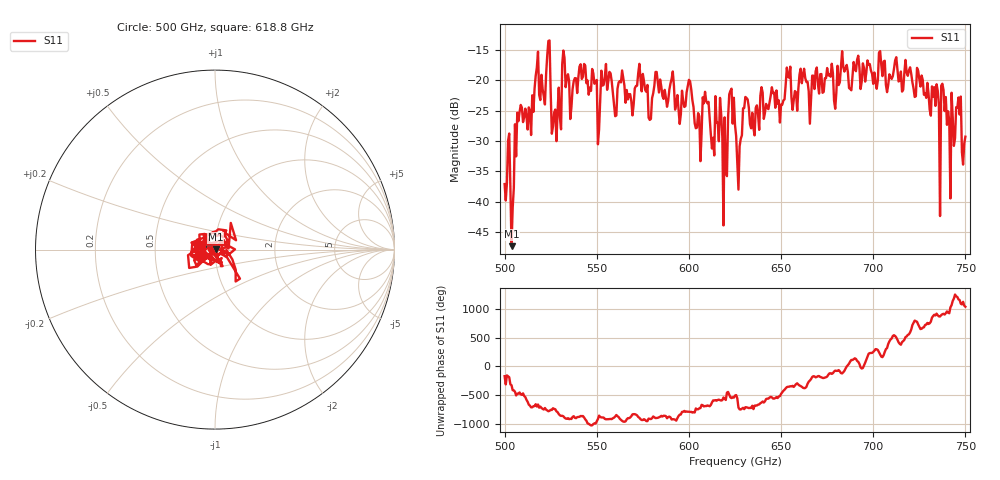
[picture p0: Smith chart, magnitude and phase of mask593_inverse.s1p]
!Created with skrf (http://scikit-rf.org).
# GHz S MA R 50.0
!freq magS11 angS11
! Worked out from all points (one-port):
!   401 points, 500 GHz to 750 GHz, reference 50 ohm
!   lowest |S11| = -47.3 dB at 503.8 GHz (marker M1), VSWR 1.01, Z = 50.4 + j0.25 ohm
!   |S11| at or under -10 dB: start of sweep to end of sweep
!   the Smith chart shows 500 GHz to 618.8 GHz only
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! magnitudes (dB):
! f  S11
! 500 GHz  -37.1
! 503.8 GHz  -47.3
! 508.1 GHz  -25.2
! 523.8 GHz  -13.5
! 526.9 GHz  -25.3
! 531.2 GHz  -17.3
! 542.5 GHz  -19.4
! 550.6 GHz  -30.5
! 562.5 GHz  -20.1
! 593.8 GHz  -22.4
! 600 GHz  -19.9
! 605.6 GHz  -25.9
! 609.4 GHz  -23.4
! 612.5 GHz  -31.2
! 616.9 GHz  -22.9
! 619.4 GHz  -26.1
! 622.5 GHz  -21.7
! 625 GHz  -27.3
! 627.5 GHz  -30.8
! 630.6 GHz  -22.7
! 656.2 GHz  -24.8
! 687.5 GHz  -21.4
! 718.8 GHz  -19.2
! 735 GHz  -21.7
! 738.1 GHz  -21.6
! 743.1 GHz  -26.1
! 746.2 GHz  -22.8
! 750 GHz  -29.3
